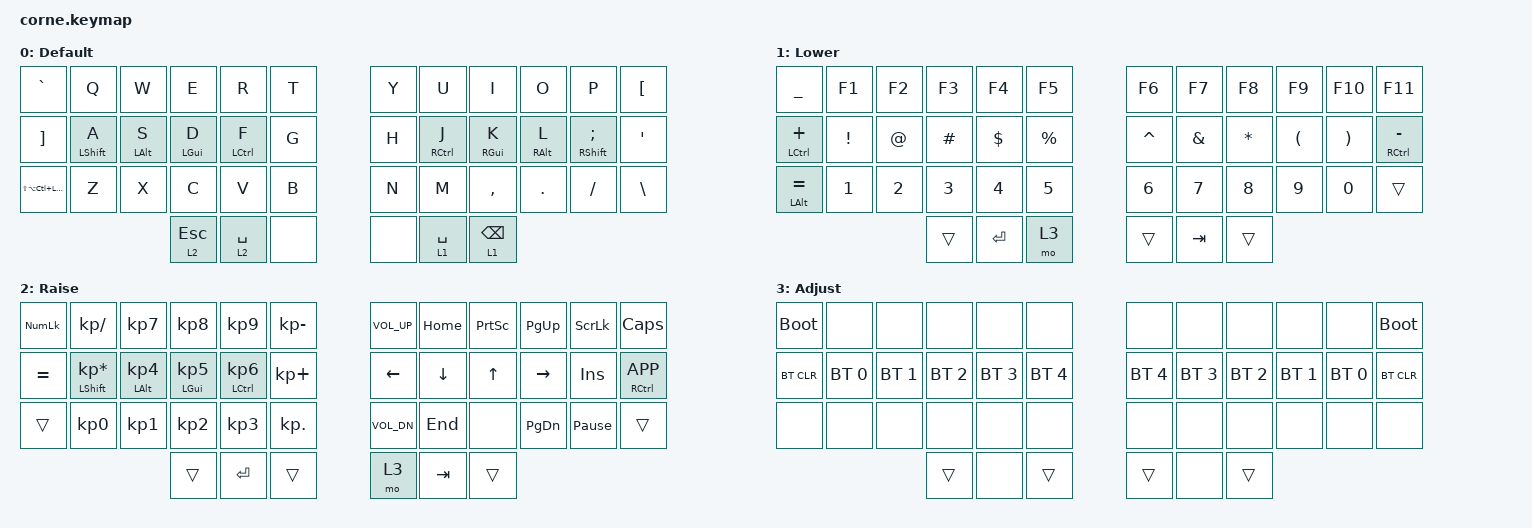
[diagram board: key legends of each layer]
/*
 * Copyright (c) 2020 The ZMK Contributors
 *
 * SPDX-License-Identifier: MIT
 */

#include <behaviors.dtsi>
#include <dt-bindings/zmk/bt.h>
#include <dt-bindings/zmk/keys.h>

// https://github.com/urob/zmk-config?tab=readme-ov-file#timeless-homerow-mods
// https://github.com/urob/zmk-helpers/blob/main/include/zmk-helpers/key-labels/42.h

#define KEYS_L 5 4 3 2 1 0 17 16 15 14 13 12 29 28 27 26 25 24    // Left-hand keys.
#define KEYS_R 6 7 8 9 10 11 18 19 20 21 22 23 30 31 32 33 34 35  // Right-hand keys.
#define THUMBS 36 37 38 39 40 41                                  // Thumb keys.
#define TTERM_MS 280
#define QTAP_MS 175
#define RPIM_MS 150

/ {
    behaviors {
        hmr: hmr {
            compatible = "zmk,behavior-hold-tap";
            label = "HMR";
            bindings = <&kp>, <&kp>;

            #binding-cells = <2>;
            tapping-term-ms = <TTERM_MS>;
            quick-tap-ms = <QTAP_MS>;
            require-prior-idle-ms = <RPIM_MS>;
            flavor = "balanced";
            hold-trigger-on-release;
            hold-trigger-key-positions = <KEYS_L THUMBS>;
        };

        hml: hml {
            compatible = "zmk,behavior-hold-tap";
            label = "HML";
            bindings = <&kp>, <&kp>;

            #binding-cells = <2>;
            tapping-term-ms = <TTERM_MS>;
            quick-tap-ms = <QTAP_MS>;
            require-prior-idle-ms = <RPIM_MS>;
            flavor = "balanced";
            hold-trigger-on-release;
            hold-trigger-key-positions = <KEYS_R THUMBS>;
        };
    };

    keymap {
        compatible = "zmk,keymap";

        default_layer {
            label = "Default";
            bindings = <
&kp GRAVE             &kp Q         &kp W        &kp E         &kp R         &kp T    &kp Y  &kp U         &kp I            &kp O        &kp P            &kp LBKT
&kp RBKT              &hml LSHFT A  &hml LALT S  &hml LGUI D   &hml LCTRL F  &kp G    &kp H  &hmr RCTRL J  &hmr RGUI K      &hmr RALT L  &hmr RSHFT SEMI  &kp SQT
&kp LS(LA(LC(LGUI)))  &kp Z         &kp X        &kp C         &kp V         &kp B    &kp N  &kp M         &kp COMMA        &kp DOT      &kp FSLH         &kp BSLH
                                                 &lt 2 ESCAPE  &lt 2 SPACE   &none    &none  &lt 1 SPACE   &lt 1 BACKSPACE
            >;
        };

        layer_lower {
            label = "Lower";
            bindings = <
&kp UNDER       &kp F1    &kp F2  &kp F3    &kp F4     &kp F5       &kp F6     &kp F7    &kp F8    &kp F9    &kp F10   &kp F11
&mt LCTRL PLUS  &kp EXCL  &kp AT  &kp HASH  &kp DLLR   &kp PRCNT    &kp CARET  &kp AMPS  &kp STAR  &kp LPAR  &kp RPAR  &mt RCTRL MINUS
&mt LALT EQUAL  &kp N1    &kp N2  &kp N3    &kp N4     &kp N5       &kp N6     &kp N7    &kp N8    &kp N9    &kp N0    &trans
                                  &trans    &kp ENTER  &mo 3        &trans     &kp TAB   &trans
            >;
        };

        layer_raise {
            label = "Raise";
            bindings = <
&kp KP_NUM  &kp KP_SLASH            &kp KP_N7        &kp KP_N8        &kp KP_N9         &kp KP_MINUS    &kp C_VOL_UP  &kp HOME  &kp PSCRN  &kp PG_UP  &kp SLCK         &kp CAPS
&kp EQUAL   &hml LSHFT KP_MULTIPLY  &hml LALT KP_N4  &hml LGUI KP_N5  &hml LCTRL KP_N6  &kp KP_PLUS     &kp LEFT      &kp DOWN  &kp UP     &kp RIGHT  &kp INS          &mt RCTRL K_APP
&trans      &kp KP_N0               &kp KP_N1        &kp KP_N2        &kp KP_N3         &kp KP_DOT      &kp C_VOL_DN  &kp END   &none      &kp PG_DN  &kp PAUSE_BREAK  &trans
                                                     &trans           &kp ENTER         &trans          &mo 3         &kp TAB   &trans
            >;
        };

        layer_adjust {
            label = "Adjust";
            bindings = <
&bootloader  &none         &none         &none         &none         &none           &none         &none         &none         &none         &none         &bootloader
&bt BT_CLR   &bt BT_SEL 0  &bt BT_SEL 1  &bt BT_SEL 2  &bt BT_SEL 3  &bt BT_SEL 4    &bt BT_SEL 4  &bt BT_SEL 3  &bt BT_SEL 2  &bt BT_SEL 1  &bt BT_SEL 0  &bt BT_CLR
&none        &none         &none         &none         &none         &none           &none         &none         &none         &none         &none         &none
                                         &trans        &none         &trans          &trans        &none         &trans
            >;
        };
    };
};
